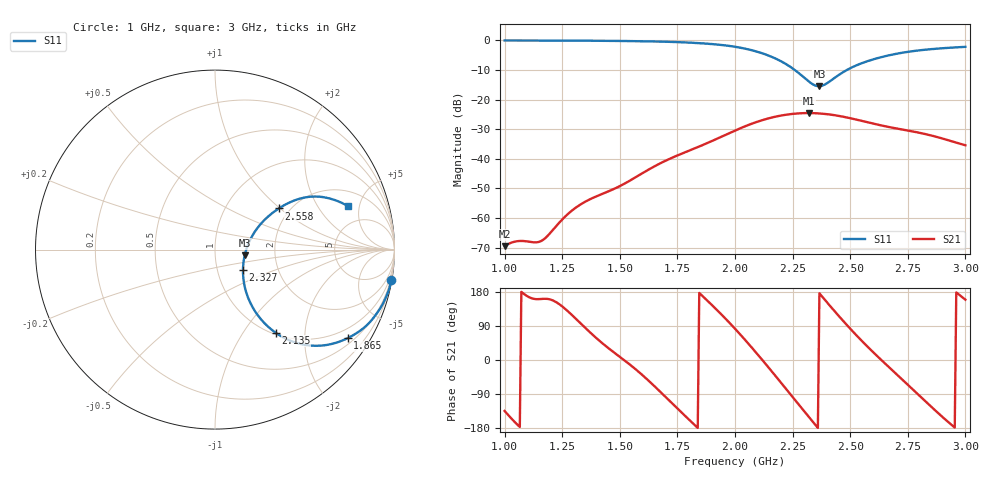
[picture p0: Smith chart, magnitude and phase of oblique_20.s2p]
! TOUCHSTONE file generated by CST MICROWAVE STUDIO
! Date and time: Tue Mar 18 00:00:52 2025
! Project name: oblique.cst
! Parameters = {Tilt=30; Fracture=1; B=10; D=160; F=15; Feed=2.85625; L=100; M=10; R=0.384908; S=1; Theta=180; length=57.125; wave=114.25}
! Header version: 2024
! Port assignment regex: !\s*Touchstone port\s*([0-9]+)\s*=\s*(CST MWS port|CST DES external port|CST DES block port)\s*(.+)\s* \(\"(.*)\"\)(\s*mode\s*([0-9]+))?.*
! Touchstone port assignment:
! Touchstone port 1 = CST MWS port 1 ("")
! Touchstone port 2 = CST MWS port 2 ("")
# GHz S DB R 50
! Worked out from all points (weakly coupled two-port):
!   304 points, 1 GHz to 3 GHz, reference 50 ohm
!   highest |S21| = -24.55 dB at 2.32 GHz (marker M1); lowest = -69.5 dB at 1 GHz (marker M2)
!   lowest |S11| = -15.5 dB at 2.366 GHz (marker M3), VSWR 1.41, Z = 69.7 - j4.47 ohm
!   |S11| at or under -10 dB: 2.259 GHz to 2.485 GHz (226 MHz wide, 9.53 % of centre)
!   S12 and S22 are empty: the file has one direction only
!   S11 on the Smith chart (normalised r, x): 1 GHz: 0, -12; 1.865 GHz: 0.68, -3.16; 2.135 GHz: 1.03, -1.42; 2.327 GHz: 1.33, -0.32; 2.558 GHz: 1.75, +0.98; 3 GHz: 3.12, +3.83
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1  -0.02 -9.8  -69.52 -134.6  -200.00 0.0  -200.00 0.0
1.05281  -0.03 -10.5  -67.86 -169.1  -200.00 0.0  -200.00 0.0
1.15842  -0.04 -12.1  -67.78 161.0  -200.00 0.0  -200.00 0.0
1.18482  -0.04 -12.5  -66.18 161.3  -200.00 0.0  -200.00 0.0
1.27063  -0.07 -14.0  -58.94 130.9  -200.00 0.0  -200.00 0.0
1.33663  -0.09 -15.3  -55.09 92.7  -200.00 0.0  -200.00 0.0
1.50165  -0.19 -19.1  -49.17 7.6  -200.00 0.0  -200.00 0.0
1.66667  -0.38 -24.3  -41.88 -78.6  -200.00 0.0  -200.00 0.0
1.86469  -1.03 -33.8  -35.19 165.5  -200.00 0.0  -200.00 0.0
2.0033  -2.19 -43.6  -30.34 80.4  -200.00 0.0  -200.00 0.0
2.13531  -4.82 -53.9  -26.56 -12.2  -200.00 0.0  -200.00 0.0
2.22772  -8.30 -56.9  -25.04 -80.9  -200.00 0.0  -200.00 0.0
2.32013  -13.87 -39.7  -24.55 -150.0  -200.00 0.0  -200.00 0.0
2.32673  -14.26 -36.4  -24.55 -154.9  -200.00 0.0  -200.00 0.0
2.33993  -14.93 -28.8  -24.58 -164.6  -200.00 0.0  -200.00 0.0
2.36634  -15.47 -10.7  -24.68 176.0  -200.00 0.0  -200.00 0.0
2.39274  -14.79 6.5  -24.86 156.9  -200.00 0.0  -200.00 0.0
2.45875  -11.25 27.8  -25.62 110.4  -200.00 0.0  -200.00 0.0
2.55776  -7.48 32.8  -27.33 45.9  -200.00 0.0  -200.00 0.0
2.66997  -5.01 30.7  -29.29 -19.9  -200.00 0.0  -200.00 0.0
2.82178  -3.17 24.4  -31.57 -106.3  -200.00 0.0  -200.00 0.0
3  -2.18 18.1  -35.43 159.2  -200.00 0.0  -200.00 0.0
